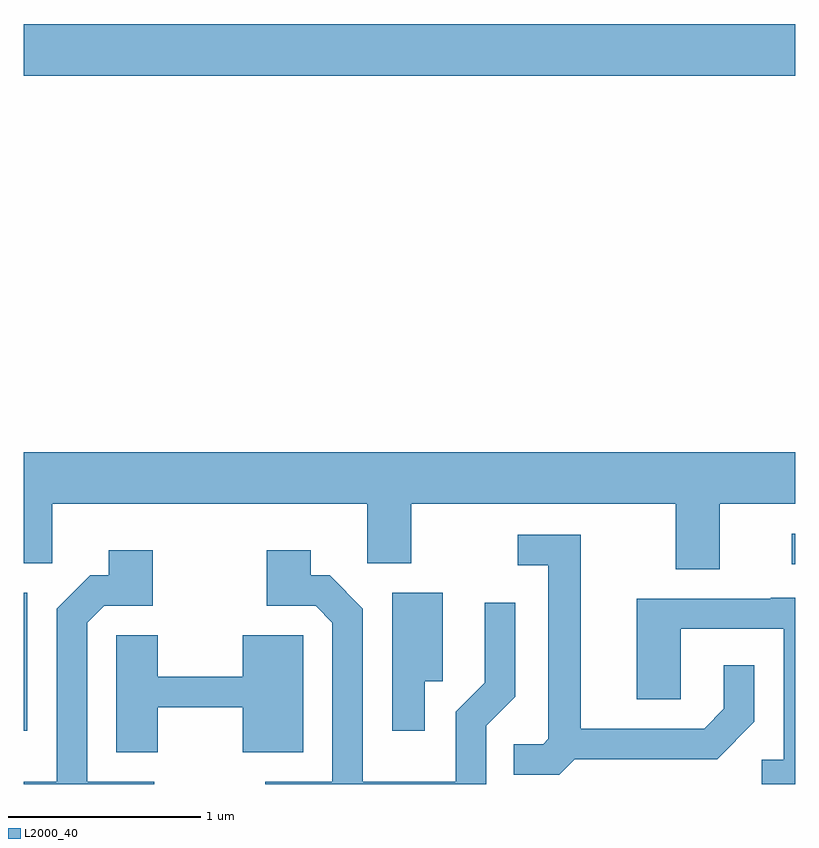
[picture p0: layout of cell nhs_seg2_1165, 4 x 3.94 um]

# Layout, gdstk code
import gdstk
lib = gdstk.Library(unit=1e-6, precision=1e-09)
def R(c, l, rs):  # rectangles x0, y0, x1, y1
    for r in rs: c.add(gdstk.rectangle(r[:2], r[2:], *l))
def P(c, l, *ps):  # polygons
    for p in ps: c.add(gdstk.Polygon(p, *l))
L2000_40 = (2000, 40)

nhs_seg2_1165 = lib.new_cell('nhs_seg2_1165')
R(nhs_seg2_1165, L2000_40, [(219.611,996.078,219.629,996.794), (223.593,996.941,223.611,997.099), (219.611,999.476,223.611,999.744)])
P(nhs_seg2_1165, L2000_40, [(223.219,997.256),(223.611,997.256),(223.611,997.524),(219.611,997.524),(219.611,996.946),(219.759,996.946),(219.759,997.256),(221.391,997.256),(221.391,996.946),(221.619,996.946),(221.619,997.256),(222.991,997.256),(222.991,996.916),(223.219,996.916)],
  [(222.467,995.931),(223.207,995.931),(223.399,996.124),(223.399,996.418),(223.241,996.418),(223.241,996.192),(223.139,996.089),(222.499,996.089),(222.499,997.094),(222.173,997.094),(222.173,996.936),(222.331,996.936),(222.331,996.037),(222.304,996.009),(222.153,996.009),(222.153,995.851),(222.387,995.851)],
  [(222.009,996.104),(222.159,996.254),(222.159,996.743),(222.001,996.743),(222.001,996.327),(221.851,996.177),(221.851,995.814),(221.369,995.814),(221.369,996.712),(221.197,996.884),(221.099,996.884),(221.099,997.014),(220.871,997.014),(220.871,996.726),(221.124,996.726),(221.211,996.639),(221.211,995.814),(220.863,995.814),(220.863,995.802),(222.009,995.802)],
  [(220.288,995.814),(219.939,995.814),(219.939,996.639),(220.027,996.726),(220.279,996.726),(220.279,997.014),(220.051,997.014),(220.051,996.884),(219.954,996.884),(219.781,996.712),(219.781,995.814),(219.611,995.814),(219.611,995.802),(220.288,995.802)],
  [(221.689,996.336),(221.784,996.336),(221.784,996.794),(221.521,996.794),(221.521,996.078),(221.689,996.078)],
  [(223.611,996.769),(223.485,996.769),(223.485,996.764),(222.791,996.764),(222.791,996.241),(223.019,996.241),(223.019,996.606),(223.551,996.606),(223.551,995.929),(223.438,995.929),(223.438,995.802),(223.611,995.802)],
  [(220.304,996.201),(220.746,996.201),(220.746,995.966),(221.059,995.966),(221.059,996.574),(220.746,996.574),(220.746,996.359),(220.304,996.359),(220.304,996.574),(220.091,996.574),(220.091,995.966),(220.304,995.966)])

lib.write_gds('nhs_seg2_1165.gds')
